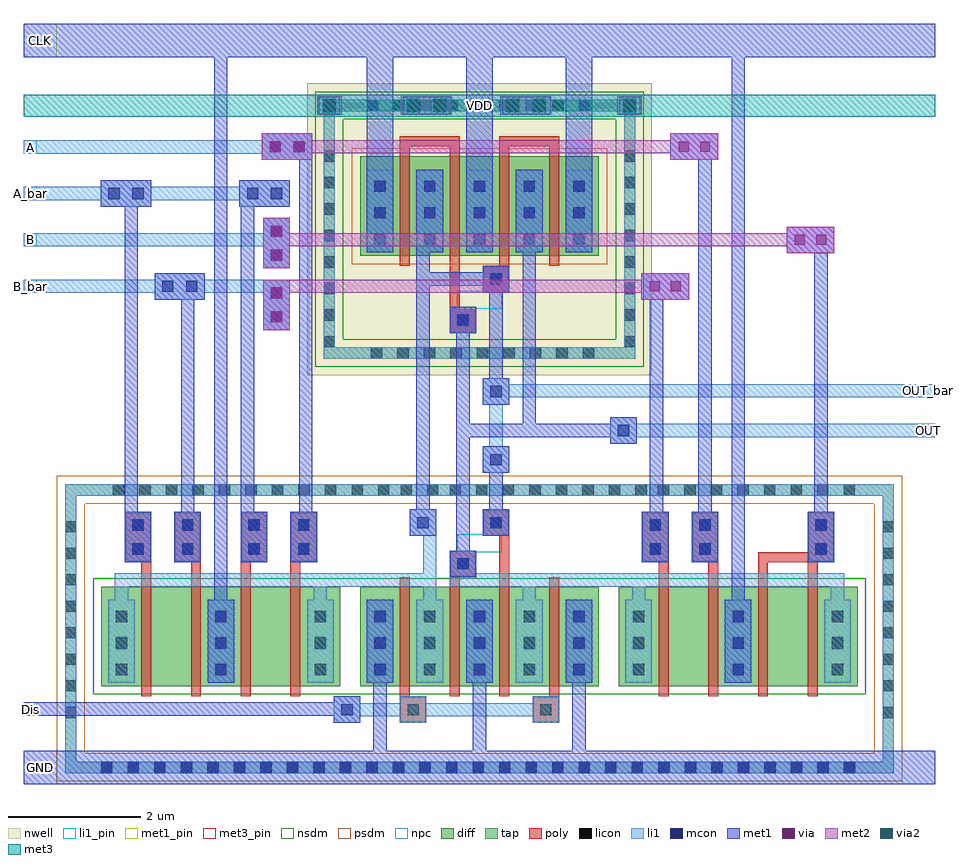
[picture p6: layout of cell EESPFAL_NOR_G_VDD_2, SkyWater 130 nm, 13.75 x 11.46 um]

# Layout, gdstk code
import gdstk
lib = gdstk.Library(unit=1e-6, precision=1e-09)
def R(c, l, rs):  # rectangles x0, y0, x1, y1
    for r in rs: c.add(gdstk.rectangle(r[:2], r[2:], *l))
def A(c, l, x, y, w, h, nx, ny, dx, dy):  # array of equal rectangles
    R(c, l, [(x+i*dx, y+j*dy, x+i*dx+w, y+j*dy+h) for i in range(nx) for j in range(ny)])
nwell = (64, 20)
diff = (65, 20)
tap = (65, 44)
poly = (66, 20)
licon = (66, 44)
li1_pin = (67, 16)
li1 = (67, 20)
mcon = (67, 44)
met1_pin = (68, 16)
met1 = (68, 20)
via = (68, 44)
met2 = (69, 20)
via2 = (69, 44)
met3_pin = (70, 16)
met3 = (70, 20)
nsdm = (93, 44)
psdm = (94, 20)
npc = (95, 20)

eespfal_nor_g_vdd_2 = lib.new_cell('EESPFAL_NOR_G_VDD_2')
R(eespfal_nor_g_vdd_2, nwell, [(4.275,6.165,9.475,10.565)])
A(eespfal_nor_g_vdd_2, diff, 1.175, 1.475, 3.6, 1.5, 3, 1, 3.9, 0)
R(eespfal_nor_g_vdd_2, diff, [(5.075,7.965,8.675,9.465)])
R(eespfal_nor_g_vdd_2, tap, [(0.625,0.165,13.125,0.335), (0.625,0.335,0.795,4.35), (12.955,0.335,13.125,4.35), (0.625,4.35,13.125,4.52), (4.525,6.415,9.225,6.585), (4.525,6.585,4.695,10.145), (9.055,6.585,9.225,10.145), (4.525,10.145,9.225,10.315)])
A(eespfal_nor_g_vdd_2, poly, 1.775, 1.325, 0.15, 2.02, 4, 1, 0.75, 0)
A(eespfal_nor_g_vdd_2, poly, 9.575, 1.325, 0.15, 2.02, 4, 1, 0.75, 0)
R(eespfal_nor_g_vdd_2, poly, [(5.675,0.92,6.075,1.32), (7.675,0.92,8.075,1.32), (5.675,1.32,5.825,3.12), (6.425,1.32,6.575,3.12), (7.175,1.32,7.325,3.74), (7.925,1.32,8.075,3.12), (6.425,3.12,6.825,3.52), (1.525,3.345,1.925,4.105), (2.275,3.345,2.675,4.105), (3.275,3.345,3.675,4.105), (4.025,3.345,4.425,4.105), (9.325,3.345,9.725,4.105), (10.075,3.345,10.475,4.105), (11.075,3.345,12.225,3.495), (11.825,3.495,12.225,4.105), (6.925,3.74,7.325,4.14), (6.425,6.795,6.825,7.195), (6.425,7.195,6.575,9.615), (6.925,7.415,7.325,7.815), (5.675,7.815,5.825,9.615), (7.175,7.815,7.325,9.615), (7.925,7.815,8.075,9.615), (5.675,9.615,6.575,9.765), (7.175,9.615,8.075,9.765)])
A(eespfal_nor_g_vdd_2, licon, 1.17, 0.165, 0.17, 0.17, 29, 1, 0.4, 0)
A(eespfal_nor_g_vdd_2, licon, 0.625, 0.995, 0.17, 0.17, 1, 8, 0, 0.4)
A(eespfal_nor_g_vdd_2, licon, 12.955, 0.995, 0.17, 0.17, 1, 8, 0, 0.4)
A(eespfal_nor_g_vdd_2, licon, 1.39, 1.64, 0.17, 0.17, 3, 3, 1.5, 0.4)
A(eespfal_nor_g_vdd_2, licon, 5.29, 1.64, 0.17, 0.17, 5, 3, 0.75, 0.4)
A(eespfal_nor_g_vdd_2, licon, 9.19, 1.64, 0.17, 0.17, 3, 3, 1.5, 0.4)
A(eespfal_nor_g_vdd_2, licon, 1.345, 4.35, 0.17, 0.17, 11, 1, 0.4, 0)
A(eespfal_nor_g_vdd_2, licon, 6.425, 4.35, 0.17, 0.17, 8, 1, 0.4, 0)
A(eespfal_nor_g_vdd_2, licon, 9.565, 4.35, 0.17, 0.17, 8, 1, 0.4, 0)
A(eespfal_nor_g_vdd_2, licon, 5.235, 6.415, 0.17, 0.17, 9, 1, 0.4, 0)
A(eespfal_nor_g_vdd_2, licon, 4.525, 6.585, 0.17, 0.17, 1, 8, 0, 0.4)
A(eespfal_nor_g_vdd_2, licon, 9.055, 6.585, 0.17, 0.17, 1, 8, 0, 0.4)
A(eespfal_nor_g_vdd_2, licon, 5.29, 8.13, 0.17, 0.17, 5, 3, 0.75, 0.4)
A(eespfal_nor_g_vdd_2, licon, 5.175, 10.145, 0.17, 0.17, 9, 1, 0.4, 0)
R(eespfal_nor_g_vdd_2, licon, [(5.79,1.035,5.96,1.205), (7.79,1.035,7.96,1.205), (6.54,3.235,6.71,3.405), (1.64,3.46,1.81,3.63), (2.39,3.46,2.56,3.63), (3.39,3.46,3.56,3.63), (4.14,3.46,4.31,3.63), (9.44,3.46,9.61,3.63), (10.19,3.46,10.36,3.63), (11.94,3.46,12.11,3.63), (1.64,3.82,1.81,3.99), (2.39,3.82,2.56,3.99), (3.39,3.82,3.56,3.99), (4.14,3.82,4.31,3.99), (9.44,3.82,9.61,3.99), (10.19,3.82,10.36,3.99), (11.94,3.82,12.11,3.99), (7.04,3.855,7.21,4.025), (5.685,4.35,5.855,4.52), (6.085,4.35,6.255,4.52), (6.54,6.91,6.71,7.08), (7.04,7.53,7.21,7.7)])
A(eespfal_nor_g_vdd_2, li1_pin, 0, 7.405, 0.2, 0.2, 1, 4, 0, 0.7)
R(eespfal_nor_g_vdd_2, li1_pin, [(13.55,5.23,13.75,5.43), (13.55,5.83,13.75,6.03)])
A(eespfal_nor_g_vdd_2, li1, 1.275, 1.525, 0.4, 1.25, 3, 1, 1.5, 0)
A(eespfal_nor_g_vdd_2, li1, 5.175, 1.525, 0.4, 1.25, 5, 2, 0.75, 6.49)
A(eespfal_nor_g_vdd_2, li1, 9.075, 1.525, 0.4, 1.25, 3, 1, 1.5, 0)
A(eespfal_nor_g_vdd_2, li1, 0, 7.405, 4.015, 0.2, 1, 3, 0, 0.7)
R(eespfal_nor_g_vdd_2, li1, [(0.625,0.165,13.125,0.335), (0.625,0.335,0.795,4.35), (12.955,0.335,13.125,4.35), (4.675,0.92,5.075,1.02), (5.675,0.92,6.075,1.02), (7.675,0.92,8.075,1.02), (4.675,1.02,8.075,1.22), (4.675,1.22,5.075,1.32), (5.675,1.22,6.075,1.32), (7.675,1.22,8.075,1.32), (1.375,2.775,1.575,2.975), (4.375,2.775,4.575,2.975), (6.025,2.775,6.225,2.975), (7.525,2.775,7.725,2.975), (9.175,2.775,9.375,2.975), (12.175,2.775,12.375,2.975), (1.375,2.975,6.225,3.175), (6.425,2.975,12.375,3.175), (6.025,3.175,6.225,3.74), (6.425,3.175,6.825,3.52), (1.525,3.345,1.925,4.105), (2.275,3.345,2.675,4.105), (3.275,3.345,3.675,4.105), (4.025,3.345,4.425,4.105), (9.325,3.345,9.725,4.105), (10.075,3.345,10.475,4.105), (11.825,3.345,12.225,4.105), (5.825,3.74,6.225,4.14), (6.925,3.74,7.325,4.14), (0.625,4.35,13.125,4.52), (6.925,4.69,7.325,5.09), (7.025,5.09,7.225,5.72), (8.845,5.13,9.245,5.23), (8.845,5.23,13.75,5.43), (8.845,5.43,9.245,5.53), (6.925,5.72,7.325,5.83), (6.925,5.83,13.75,6.03), (6.925,6.03,7.325,6.12), (4.525,6.415,9.225,6.585), (4.525,6.585,4.695,10.145), (9.055,6.585,9.225,10.145), (6.425,6.795,6.825,7.195), (3.615,6.845,4.015,7.405), (1.975,7.305,2.735,7.405), (6.925,7.415,7.325,7.815), (1.975,7.605,2.735,7.705), (3.615,7.775,4.015,8.105), (3.615,8.305,4.015,8.535), (1.165,8.705,1.925,8.805), (3.255,8.705,4.015,8.805), (1.165,9.005,1.925,9.105), (3.255,9.005,4.015,9.105), (3.595,9.41,4.355,9.505), (0,9.505,4.355,9.705), (3.595,9.705,4.355,9.81), (4.525,10.145,9.225,10.315)])
A(eespfal_nor_g_vdd_2, mcon, 1.17, 0.165, 0.17, 0.17, 29, 1, 0.4, 0)
A(eespfal_nor_g_vdd_2, mcon, 2.89, 1.64, 0.17, 0.17, 1, 3, 0, 0.4)
A(eespfal_nor_g_vdd_2, mcon, 5.29, 1.64, 0.17, 0.17, 3, 3, 1.5, 0.4)
A(eespfal_nor_g_vdd_2, mcon, 10.69, 1.64, 0.17, 0.17, 1, 3, 0, 0.4)
A(eespfal_nor_g_vdd_2, mcon, 5.29, 8.13, 0.17, 0.17, 5, 3, 0.75, 0.4)
R(eespfal_nor_g_vdd_2, mcon, [(4.79,1.035,4.96,1.205), (6.54,3.235,6.71,3.405), (1.64,3.46,1.81,3.63), (2.39,3.46,2.56,3.63), (3.39,3.46,3.56,3.63), (4.14,3.46,4.31,3.63), (9.44,3.46,9.61,3.63), (10.19,3.46,10.36,3.63), (11.94,3.46,12.11,3.63), (1.64,3.82,1.81,3.99), (2.39,3.82,2.56,3.99), (3.39,3.82,3.56,3.99), (4.14,3.82,4.31,3.99), (9.44,3.82,9.61,3.99), (10.19,3.82,10.36,3.99), (11.94,3.82,12.11,3.99), (5.94,3.855,6.11,4.025), (7.04,3.855,7.21,4.025), (7.04,4.805,7.21,4.975), (8.96,5.245,9.13,5.415), (7.04,5.835,7.21,6.005), (6.54,6.91,6.71,7.08), (3.73,6.96,3.9,7.13), (3.73,7.32,3.9,7.49), (2.09,7.42,2.26,7.59), (2.45,7.42,2.62,7.59), (7.04,7.53,7.21,7.7), (3.73,7.89,3.9,8.06), (3.73,8.25,3.9,8.42), (1.28,8.82,1.45,8.99), (1.64,8.82,1.81,8.99), (3.37,8.82,3.54,8.99), (3.73,8.82,3.9,8.99), (3.71,9.525,3.88,9.695), (4.07,9.525,4.24,9.695), (4.525,10.145,4.695,10.315), (5.79,10.145,5.96,10.315), (6.19,10.145,6.36,10.315), (7.29,10.145,7.46,10.315), (7.69,10.145,7.86,10.315), (9.055,10.145,9.225,10.315)])
R(eespfal_nor_g_vdd_2, met1_pin, [(0,0,0.5,0.5), (0,1.03,0.2,1.23), (0,10.96,0.5,11.46)])
A(eespfal_nor_g_vdd_2, met1, 5.275, 0.5, 0.2, 1.025, 3, 1, 1.5, 0)
A(eespfal_nor_g_vdd_2, met1, 5.175, 1.525, 0.4, 1.25, 3, 1, 1.5, 0)
A(eespfal_nor_g_vdd_2, met1, 5.175, 8.015, 0.4, 2.945, 3, 1, 1.5, 0)
R(eespfal_nor_g_vdd_2, met1, [(0,0,13.75,0.5), (4.675,0.92,5.075,1.03), (0,1.03,5.075,1.23), (4.675,1.23,5.075,1.32), (2.775,1.525,3.175,2.775), (10.575,1.525,10.975,2.775), (2.875,2.775,3.075,10.96), (10.675,2.775,10.875,10.96), (6.425,3.12,6.825,3.52), (1.525,3.345,1.925,4.105), (2.275,3.345,2.675,4.105), (3.275,3.345,3.675,4.105), (4.025,3.345,4.425,4.105), (9.325,3.345,9.725,4.105), (10.075,3.345,10.475,4.105), (11.825,3.345,12.225,4.105), (6.525,3.52,6.725,5.23), (5.825,3.74,6.225,4.14), (6.925,3.74,7.325,4.14), (1.525,4.105,1.725,8.705), (2.375,4.105,2.575,7.305), (3.275,4.105,3.475,8.705), (4.155,4.105,4.355,9.41), (9.445,4.105,9.645,7.305), (10.175,4.105,10.375,9.41), (11.925,4.105,12.125,8.005), (5.925,4.14,6.125,7.515), (7.025,4.14,7.225,4.69), (6.925,4.69,7.325,5.09), (8.845,5.13,9.245,5.23), (6.525,5.23,9.245,5.43), (6.525,5.43,6.725,6.795), (7.525,5.43,7.725,8.015), (8.845,5.43,9.245,5.53), (6.925,5.72,7.325,6.12), (7.025,6.12,7.225,7.415), (6.425,6.795,6.825,7.195), (3.615,6.845,4.015,7.605), (1.975,7.305,2.735,7.705), (9.315,7.305,10.035,7.705), (6.925,7.415,7.325,7.515), (5.925,7.515,7.325,7.715), (5.925,7.715,6.125,8.015), (6.925,7.715,7.325,7.815), (3.615,7.775,4.015,8.535), (11.505,8.005,12.225,8.405), (5.925,8.015,6.325,9.265), (7.425,8.015,7.825,9.265), (1.165,8.705,1.925,9.105), (3.255,8.705,4.015,9.105), (3.595,9.41,4.355,9.81), (9.755,9.41,10.475,9.81), (4.45,10.1,4.77,10.36), (5.715,10.1,6.45,10.36), (7.215,10.1,7.95,10.36), (8.98,10.1,9.3,10.36), (0,10.96,13.75,11.46)])
R(eespfal_nor_g_vdd_2, via, [(3.74,6.97,3.89,7.12), (3.74,7.33,3.89,7.48), (9.44,7.43,9.59,7.58), (9.76,7.43,9.91,7.58), (3.74,7.9,3.89,8.05), (11.63,8.13,11.78,8.28), (11.95,8.13,12.1,8.28), (3.74,8.26,3.89,8.41), (3.72,9.535,3.87,9.685), (4.08,9.535,4.23,9.685), (9.88,9.535,10.03,9.685), (10.2,9.535,10.35,9.685), (4.535,10.155,4.685,10.305), (5.8,10.155,5.95,10.305), (6.2,10.155,6.35,10.305), (7.3,10.155,7.45,10.305), (7.7,10.155,7.85,10.305), (9.065,10.155,9.215,10.305)])
R(eespfal_nor_g_vdd_2, met2, [(3.615,6.845,4.015,7.405), (9.315,7.305,10.035,7.405), (3.615,7.405,10.035,7.605), (9.315,7.605,10.035,7.705), (3.615,7.775,4.015,8.105), (11.505,8.005,12.225,8.105), (3.615,8.105,12.225,8.305), (3.615,8.305,4.015,8.535), (11.505,8.305,12.225,8.405), (3.595,9.41,4.355,9.51), (9.755,9.41,10.475,9.51), (3.595,9.51,10.475,9.71), (3.595,9.71,4.355,9.81), (9.755,9.71,10.475,9.81), (4.425,10.09,4.795,10.37), (5.69,10.09,6.46,10.37), (7.19,10.09,7.96,10.37), (8.955,10.09,9.325,10.37)])
R(eespfal_nor_g_vdd_2, via2, [(4.51,10.13,4.71,10.33), (5.775,10.13,5.975,10.33), (6.175,10.13,6.375,10.33), (7.275,10.13,7.475,10.33), (7.675,10.13,7.875,10.33), (9.04,10.13,9.24,10.33)])
R(eespfal_nor_g_vdd_2, met3_pin, [(0,10.065,13.75,10.395)])
R(eespfal_nor_g_vdd_2, met3, [(0,10.065,13.75,10.395)])
R(eespfal_nor_g_vdd_2, nsdm, [(1.05,1.35,12.7,3.1), (4.4,6.29,9.35,6.71), (4.4,6.71,4.82,10.02), (8.93,6.71,9.35,10.02), (4.4,10.02,9.35,10.44)])
R(eespfal_nor_g_vdd_2, psdm, [(0.5,0.04,13.25,0.46), (0.5,0.46,0.92,4.225), (12.83,0.46,13.25,4.225), (0.5,4.225,13.25,4.645), (4.95,7.84,8.8,9.59)])
R(eespfal_nor_g_vdd_2, npc, [(5.69,0.935,6.06,1.305), (7.69,0.935,8.06,1.305), (6.44,3.135,6.81,3.495), (1.54,3.36,1.91,4.09), (2.29,3.36,2.66,4.09), (3.29,3.36,3.66,4.09), (4.04,3.36,4.41,4.09), (9.34,3.36,9.71,4.09), (10.09,3.36,10.46,4.09), (11.84,3.36,12.21,4.09), (6.44,3.495,7.21,3.505), (6.54,3.505,7.21,3.755), (6.54,3.755,7.31,3.765), (6.94,3.765,7.31,4.125), (6.44,6.81,6.81,7.17), (6.44,7.17,7.21,7.18), (6.54,7.18,7.21,7.43), (6.54,7.43,7.31,7.44), (6.94,7.44,7.31,7.8)])
eespfal_nor_g_vdd_2.add(gdstk.Label('A', (0.1,9.605), layer=67, texttype=5))
eespfal_nor_g_vdd_2.add(gdstk.Label('B', (0.1,8.205), layer=67, texttype=5))
eespfal_nor_g_vdd_2.add(gdstk.Label('A_bar', (0.1,8.905), layer=67, texttype=5))
eespfal_nor_g_vdd_2.add(gdstk.Label('B_bar', (0.1,7.505), layer=67, texttype=5))
eespfal_nor_g_vdd_2.add(gdstk.Label('OUT_bar', (13.65,5.93), layer=67, texttype=5))
eespfal_nor_g_vdd_2.add(gdstk.Label('OUT', (13.65,5.33), layer=67, texttype=5))
eespfal_nor_g_vdd_2.add(gdstk.Label('VDD', (6.875,10.23), layer=70, texttype=5))
eespfal_nor_g_vdd_2.add(gdstk.Label('Dis', (0.1,1.13), layer=68, texttype=5))
eespfal_nor_g_vdd_2.add(gdstk.Label('GND', (0.25,0.25), layer=68, texttype=5))
eespfal_nor_g_vdd_2.add(gdstk.Label('CLK', (0.25,11.21), layer=68, texttype=5))

lib.write_gds('EESPFAL_NOR_G_VDD_2.gds')
